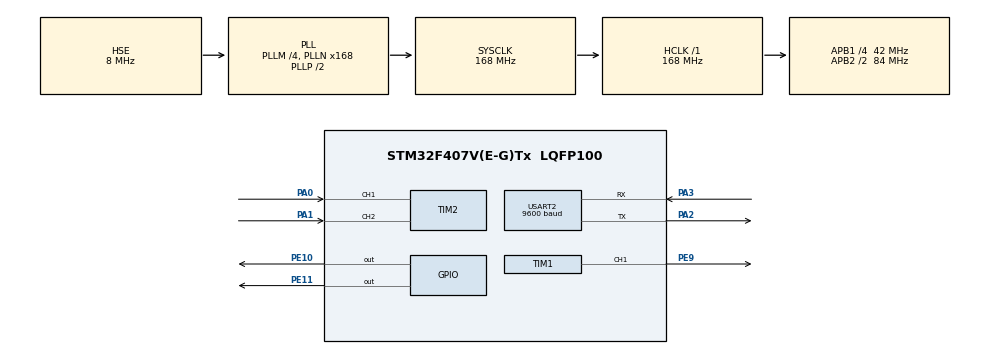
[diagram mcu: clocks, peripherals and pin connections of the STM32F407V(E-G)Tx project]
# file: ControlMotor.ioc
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Dma.Request0=USART2_RX
Dma.Request1=USART2_TX
Dma.USART2_RX.0.Direction=DMA_PERIPH_TO_MEMORY
Dma.USART2_RX.0.FIFOMode=DMA_FIFOMODE_DISABLE
Dma.USART2_RX.0.Instance=DMA1_Stream5
Dma.USART2_RX.0.MemDataAlignment=DMA_MDATAALIGN_BYTE
Dma.USART2_RX.0.MemInc=DMA_MINC_ENABLE
Dma.USART2_RX.0.Mode=DMA_NORMAL
Dma.USART2_RX.0.PeriphDataAlignment=DMA_PDATAALIGN_BYTE
Dma.USART2_RX.0.PeriphInc=DMA_PINC_DISABLE
Dma.USART2_RX.0.Priority=DMA_PRIORITY_HIGH
Dma.USART2_TX.1.Direction=DMA_MEMORY_TO_PERIPH
Dma.USART2_TX.1.FIFOMode=DMA_FIFOMODE_DISABLE
Dma.USART2_TX.1.Instance=DMA1_Stream6
Dma.USART2_TX.1.MemDataAlignment=DMA_MDATAALIGN_BYTE
Dma.USART2_TX.1.MemInc=DMA_MINC_ENABLE
Dma.USART2_TX.1.Mode=DMA_NORMAL
Dma.USART2_TX.1.PeriphDataAlignment=DMA_PDATAALIGN_BYTE
Dma.USART2_TX.1.PeriphInc=DMA_PINC_DISABLE
Dma.USART2_TX.1.Priority=DMA_PRIORITY_HIGH
Mcu.Family=STM32F4
Mcu.Name=STM32F407V(E-G)Tx
Mcu.Package=LQFP100
NVIC.DMA1_Stream5_IRQn=true\:0\:0\:false\:false\:true\:false\:true\:true
NVIC.DMA1_Stream6_IRQn=true\:0\:0\:false\:false\:true\:false\:true\:true
NVIC.PriorityGroup=NVIC_PRIORITYGROUP_0
NVIC.TIM2_IRQn=true\:0\:0\:false\:false\:true\:true\:true\:true
NVIC.TIM3_IRQn=true\:0\:0\:false\:false\:true\:true\:true\:true
NVIC.TIM4_IRQn=true\:0\:0\:false\:false\:true\:true\:true\:true
NVIC.USART2_IRQn=true\:0\:0\:false\:false\:true\:true\:true\:true
PA0-WKUP.Signal=S_TIM2_CH1_ETR
PA1.Signal=S_TIM2_CH2
PA13.Mode=Serial_Wire
PA13.Signal=SYS_JTMS-SWDIO
PA14.Mode=Serial_Wire
PA14.Signal=SYS_JTCK-SWCLK
PA2.Mode=Asynchronous
PA2.Signal=USART2_TX
PA3.Mode=Asynchronous
PA3.Signal=USART2_RX
PE10.Signal=GPIO_Output
PE11.Signal=GPIO_Output
PE9.Signal=S_TIM1_CH1
PH0-OSC_IN.Mode=HSE-External-Oscillator
PH0-OSC_IN.Signal=RCC_OSC_IN
PH1-OSC_OUT.Mode=HSE-External-Oscillator
PH1-OSC_OUT.Signal=RCC_OSC_OUT
ProjectManager.HeapSize=0x200
ProjectManager.StackSize=0x400
ProjectManager.TargetToolchain=STM32CubeIDE
RCC.48MHZClocksFreq_Value=48000000
RCC.AHBFreq_Value=168000000
RCC.APB1CLKDivider=RCC_HCLK_DIV4
RCC.APB1Freq_Value=42000000
RCC.APB1TimFreq_Value=84000000
RCC.APB2CLKDivider=RCC_HCLK_DIV2
RCC.APB2Freq_Value=84000000
RCC.APB2TimFreq_Value=168000000
RCC.CortexFreq_Value=168000000
RCC.HCLKFreq_Value=168000000
RCC.HSE_VALUE=8000000
RCC.HSI_VALUE=16000000
RCC.LSE_VALUE=32768
RCC.PLLM=4
RCC.PLLN=168
RCC.PLLQ=7
RCC.PLLSourceVirtual=RCC_PLLSOURCE_HSE
RCC.SYSCLKFreq_VALUE=168000000
RCC.SYSCLKSource=RCC_SYSCLKSOURCE_PLLCLK
RCC.VCOOutputFreq_Value=336000000
SH.S_TIM1_CH1.0=TIM1_CH1,PWM Generation1 CH1
SH.S_TIM2_CH1_ETR.0=TIM2_CH1,Encoder_Interface
SH.S_TIM2_CH2.0=TIM2_CH2,Encoder_Interface
TIM1.Channel-PWM\ Generation1\ CH1=TIM_CHANNEL_1
TIM1.Period=100-1
TIM1.Prescaler=168-1
TIM2.EncoderMode=TIM_ENCODERMODE_TI12
TIM3.Period=5000-1
TIM3.Prescaler=84-1
TIM4.Period=10000-1
TIM4.Prescaler=840-1
USART2.BaudRate=9600
USART2.VirtualMode=VM_ASYNC
VP_TIM1_VS_ClockSourceINT.Mode=Internal
VP_TIM3_VS_ClockSourceINT.Mode=Internal
VP_TIM4_VS_ClockSourceINT.Mode=Internal
board=STM32F407G-DISC1

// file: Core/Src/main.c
/* USER CODE BEGIN Header */
/**
  ******************************************************************************
  * @file           : main.c
  * @brief          : Main program body
  ******************************************************************************
  * @attention
  *
  * Copyright (c) 2024 STMicroelectronics.
  * All rights reserved.
  *
  * This software is licensed under terms that can be found in the LICENSE file
  * in the root directory of this software component.
  * If no LICENSE file comes with this software, it is provided AS-IS.
  *
  ******************************************************************************
  */
/* USER CODE END Header */
#include "main.h"

/* USER CODE BEGIN Includes */
#include <stdbool.h>
#include <string.h>
#include <math.h>
#include <stdint.h>
/* USER CODE END Includes */

/* USER CODE BEGIN PTD */
// Variables for setpoint value
float setpoint = 0.0; // unit deg
/* USER CODE END PTD */

/* USER CODE BEGIN PD */
#define PULSE_PER_REVOLUTION 260
#define RX_BUFF_SIZE 20
#define TX_BUFF_SIZE 20
#define SET_RUN_MODE 0x01
#define SET_STOP_MODE 0x02
#define RECEIVE_MODE 0x03
/* USER CODE END PD */

TIM_HandleTypeDef htim1;
TIM_HandleTypeDef htim2;
TIM_HandleTypeDef htim3;
TIM_HandleTypeDef htim4;

UART_HandleTypeDef huart2;
DMA_HandleTypeDef hdma_usart2_rx;
DMA_HandleTypeDef hdma_usart2_tx;

/* USER CODE BEGIN PV */
// Variables for reading encoder
volatile short enc_val = 0; // encoder value
volatile short speed_test = 0;
int8_t motor_direction; // 1 = clockwise, 0 = counter clockwise
// Variables for control motor
uint16_t PWMvalue = 0;

volatile float Error = 0.0;
volatile float pre_Error = 0.0;
volatile float pre_pre_Error = 0.0;
volatile float pre_out = 0.0;

// Variables for PID
bool caculate_pid = false;
float K_p = 0.00105390884; 	//k_p = 0.28
float K_i = 0.421563536; //k_i = 0.0001
float K_d = 0; 		//k_d = 0.1

float error_value = 0; //error
float previous_error = 0; //for calculating the derivative (edot)
float P_part, I_part, D_part;
float control_signal = 0; //u - Also called as process variable (PV)
float T = 0.005; // control period in s (5ms)

// Variables for sending data through Usart
uint8_t Rx_buff[RX_BUFF_SIZE];
uint8_t Tx_buff[TX_BUFF_SIZE];
uint8_t main_buff[RX_BUFF_SIZE];
uint8_t sub_main_buff[4];
bool update_paramter = false;
uint16_t size;
uint8_t length;
/* USER CODE END PV */

void SystemClock_Config(void);
static void MX_GPIO_Init(void);
static void MX_DMA_Init(void);
static void MX_USART2_UART_Init(void);
static void MX_TIM2_Init(void);
static void MX_TIM4_Init(void);
static void MX_TIM1_Init(void);
static void MX_TIM3_Init(void);
/* USER CODE BEGIN PFP */
// Convert function
float convertUint8ArrayToFloat(uint8_t array[4]);
void floatToByteArray(float floatValue, uint8_t byteArray[4]);

// function for motor
void calculatePID(void);
void controlMotor(void);
// function for uart
void sendCurrentSpeed(void);
/* USER CODE END PFP */

int main(void)
{

  /* MCU Configuration--------------------------------------------------------*/

  /* Reset of all peripherals, Initializes the Flash interface and the Systick. */
  HAL_Init();

  /* Configure the system clock */
  SystemClock_Config();

  /* Initialize all configured peripherals */
  MX_GPIO_Init();
  MX_DMA_Init();
  MX_USART2_UART_Init();
  MX_TIM2_Init();
  MX_TIM4_Init();
  MX_TIM1_Init();
  MX_TIM3_Init();
  /* USER CODE BEGIN 2 */
  HAL_TIM_PWM_Start(&htim1,TIM_CHANNEL_1); // start timer1 for pwm
  HAL_TIM_Encoder_Start_IT(&htim2,TIM_CHANNEL_1); // start timer2 encoder interface to read encoder mode x4
  HAL_TIM_Encoder_Start_IT(&htim2,TIM_CHANNEL_2);
  HAL_TIM_Base_Start_IT(&htim3); // start timer for 5ms pid control cycle
  HAL_TIM_Base_Start_IT(&htim4); // start timer for 100ms send current position
  HAL_UARTEx_ReceiveToIdle_DMA(&huart2, Rx_buff, RX_BUFF_SIZE); // start uart2 rx dma idle
  //Then we set the motor speed
  __HAL_TIM_SetCompare(&htim1,TIM_CHANNEL_1,0);
  /* USER CODE END 2 */

  /* Infinite loop */
  /* USER CODE BEGIN WHILE */
  while (1)
  {
	switch(main_buff[2])
	{
	case SET_STOP_MODE:
		PWMvalue = 0;
		//Then we set the motor speed
		__HAL_TIM_SetCompare(&htim1,TIM_CHANNEL_1,PWMvalue);
		break;
	case SET_RUN_MODE:
		if (caculate_pid)
			{
				caculate_pid = false;
				calculatePID();
//				controlMotor();

			}
		if(update_paramter)
		{
			update_paramter = false;

			for (uint8_t i = 0; i < 4; i++)
			{
				sub_main_buff[i] = main_buff[i+3];
			}
			setpoint = convertUint8ArrayToFloat(sub_main_buff);
			for (uint8_t i = 0; i < 4; i++)
			{
				sub_main_buff[i] = main_buff[i+7];
			}
			K_p = convertUint8ArrayToFloat(sub_main_buff);
			for (uint8_t i = 0; i < 4; i++)
			{
				sub_main_buff[i] = main_buff[i+11];
			}
			K_i = convertUint8ArrayToFloat(sub_main_buff);
			for (uint8_t i = 0; i < 4; i++)
			{
				sub_main_buff[i] = main_buff[i+15];
			}
			K_d = convertUint8ArrayToFloat(sub_main_buff);
		}
		break;
	}

    /* USER CODE END WHILE */

  }
}

void SystemClock_Config(void)
{
  RCC_OscInitTypeDef RCC_OscInitStruct = {0};
  RCC_ClkInitTypeDef RCC_ClkInitStruct = {0};

  /** Configure the main internal regulator output voltage
  */
  __HAL_RCC_PWR_CLK_ENABLE();
  __HAL_PWR_VOLTAGESCALING_CONFIG(PWR_REGULATOR_VOLTAGE_SCALE1);

  /** Initializes the RCC Oscillators according to the specified parameters
  * in the RCC_OscInitTypeDef structure.
  */
  RCC_OscInitStruct.OscillatorType = RCC_OSCILLATORTYPE_HSE;
  RCC_OscInitStruct.HSEState = RCC_HSE_ON;
  RCC_OscInitStruct.PLL.PLLState = RCC_PLL_ON;
  RCC_OscInitStruct.PLL.PLLSource = RCC_PLLSOURCE_HSE;
  RCC_OscInitStruct.PLL.PLLM = 4;
  RCC_OscInitStruct.PLL.PLLN = 168;
  RCC_OscInitStruct.PLL.PLLP = RCC_PLLP_DIV2;
  RCC_OscInitStruct.PLL.PLLQ = 7;
  if (HAL_RCC_OscConfig(&RCC_OscInitStruct) != HAL_OK)
  {
    Error_Handler();
  }

  /** Initializes the CPU, AHB and APB buses clocks
  */
  RCC_ClkInitStruct.ClockType = RCC_CLOCKTYPE_HCLK|RCC_CLOCKTYPE_SYSCLK
                              |RCC_CLOCKTYPE_PCLK1|RCC_CLOCKTYPE_PCLK2;
  RCC_ClkInitStruct.SYSCLKSource = RCC_SYSCLKSOURCE_PLLCLK;
  RCC_ClkInitStruct.AHBCLKDivider = RCC_SYSCLK_DIV1;
  RCC_ClkInitStruct.APB1CLKDivider = RCC_HCLK_DIV4;
  RCC_ClkInitStruct.APB2CLKDivider = RCC_HCLK_DIV2;

  if (HAL_RCC_ClockConfig(&RCC_ClkInitStruct, FLASH_LATENCY_5) != HAL_OK)
  {
    Error_Handler();
  }
}

static void MX_TIM1_Init(void)
{

  TIM_ClockConfigTypeDef sClockSourceConfig = {0};
  TIM_MasterConfigTypeDef sMasterConfig = {0};
  TIM_OC_InitTypeDef sConfigOC = {0};
  TIM_BreakDeadTimeConfigTypeDef sBreakDeadTimeConfig = {0};

  htim1.Instance = TIM1;
  htim1.Init.Prescaler = 168-1;
  htim1.Init.CounterMode = TIM_COUNTERMODE_UP;
  htim1.Init.Period = 100-1;
  htim1.Init.ClockDivision = TIM_CLOCKDIVISION_DIV1;
  htim1.Init.RepetitionCounter = 0;
  htim1.Init.AutoReloadPreload = TIM_AUTORELOAD_PRELOAD_DISABLE;
  if (HAL_TIM_Base_Init(&htim1) != HAL_OK)
  {
    Error_Handler();
  }
  sClockSourceConfig.ClockSource = TIM_CLOCKSOURCE_INTERNAL;
  if (HAL_TIM_ConfigClockSource(&htim1, &sClockSourceConfig) != HAL_OK)
  {
    Error_Handler();
  }
  if (HAL_TIM_PWM_Init(&htim1) != HAL_OK)
  {
    Error_Handler();
  }
  sMasterConfig.MasterOutputTrigger = TIM_TRGO_RESET;
  sMasterConfig.MasterSlaveMode = TIM_MASTERSLAVEMODE_DISABLE;
  if (HAL_TIMEx_MasterConfigSynchronization(&htim1, &sMasterConfig) != HAL_OK)
  {
    Error_Handler();
  }
  sConfigOC.OCMode = TIM_OCMODE_PWM1;
  sConfigOC.Pulse = 0;
  sConfigOC.OCPolarity = TIM_OCPOLARITY_HIGH;
  sConfigOC.OCNPolarity = TIM_OCNPOLARITY_HIGH;
  sConfigOC.OCFastMode = TIM_OCFAST_DISABLE;
  sConfigOC.OCIdleState = TIM_OCIDLESTATE_RESET;
  sConfigOC.OCNIdleState = TIM_OCNIDLESTATE_RESET;
  if (HAL_TIM_PWM_ConfigChannel(&htim1, &sConfigOC, TIM_CHANNEL_1) != HAL_OK)
  {
    Error_Handler();
  }
  sBreakDeadTimeConfig.OffStateRunMode = TIM_OSSR_DISABLE;
  sBreakDeadTimeConfig.OffStateIDLEMode = TIM_OSSI_DISABLE;
  sBreakDeadTimeConfig.LockLevel = TIM_LOCKLEVEL_OFF;
  sBreakDeadTimeConfig.DeadTime = 0;
  sBreakDeadTimeConfig.BreakState = TIM_BREAK_DISABLE;
  sBreakDeadTimeConfig.BreakPolarity = TIM_BREAKPOLARITY_HIGH;
  sBreakDeadTimeConfig.AutomaticOutput = TIM_AUTOMATICOUTPUT_DISABLE;
  if (HAL_TIMEx_ConfigBreakDeadTime(&htim1, &sBreakDeadTimeConfig) != HAL_OK)
  {
    Error_Handler();
  }
  HAL_TIM_MspPostInit(&htim1);

}

static void MX_TIM2_Init(void)
{

  TIM_Encoder_InitTypeDef sConfig = {0};
  TIM_MasterConfigTypeDef sMasterConfig = {0};

  htim2.Instance = TIM2;
  htim2.Init.Prescaler = 0;
  htim2.Init.CounterMode = TIM_COUNTERMODE_UP;
  htim2.Init.Period = 4294967295;
  htim2.Init.ClockDivision = TIM_CLOCKDIVISION_DIV1;
  htim2.Init.AutoReloadPreload = TIM_AUTORELOAD_PRELOAD_DISABLE;
  sConfig.EncoderMode = TIM_ENCODERMODE_TI12;
  sConfig.IC1Polarity = TIM_ICPOLARITY_RISING;
  sConfig.IC1Selection = TIM_ICSELECTION_DIRECTTI;
  sConfig.IC1Prescaler = TIM_ICPSC_DIV1;
  sConfig.IC1Filter = 0;
  sConfig.IC2Polarity = TIM_ICPOLARITY_RISING;
  sConfig.IC2Selection = TIM_ICSELECTION_DIRECTTI;
  sConfig.IC2Prescaler = TIM_ICPSC_DIV1;
  sConfig.IC2Filter = 0;
  if (HAL_TIM_Encoder_Init(&htim2, &sConfig) != HAL_OK)
  {
    Error_Handler();
  }
  sMasterConfig.MasterOutputTrigger = TIM_TRGO_RESET;
  sMasterConfig.MasterSlaveMode = TIM_MASTERSLAVEMODE_DISABLE;
  if (HAL_TIMEx_MasterConfigSynchronization(&htim2, &sMasterConfig) != HAL_OK)
  {
    Error_Handler();
  }

}

static void MX_TIM3_Init(void)
{

  TIM_ClockConfigTypeDef sClockSourceConfig = {0};
  TIM_MasterConfigTypeDef sMasterConfig = {0};

  htim3.Instance = TIM3;
  htim3.Init.Prescaler = 84-1;
  htim3.Init.CounterMode = TIM_COUNTERMODE_UP;
  htim3.Init.Period = 5000-1;
  htim3.Init.ClockDivision = TIM_CLOCKDIVISION_DIV1;
  htim3.Init.AutoReloadPreload = TIM_AUTORELOAD_PRELOAD_DISABLE;
  if (HAL_TIM_Base_Init(&htim3) != HAL_OK)
  {
    Error_Handler();
  }
  sClockSourceConfig.ClockSource = TIM_CLOCKSOURCE_INTERNAL;
  if (HAL_TIM_ConfigClockSource(&htim3, &sClockSourceConfig) != HAL_OK)
  {
    Error_Handler();
  }
  sMasterConfig.MasterOutputTrigger = TIM_TRGO_RESET;
  sMasterConfig.MasterSlaveMode = TIM_MASTERSLAVEMODE_DISABLE;
  if (HAL_TIMEx_MasterConfigSynchronization(&htim3, &sMasterConfig) != HAL_OK)
  {
    Error_Handler();
  }

}

static void MX_TIM4_Init(void)
{

  TIM_ClockConfigTypeDef sClockSourceConfig = {0};
  TIM_MasterConfigTypeDef sMasterConfig = {0};

  htim4.Instance = TIM4;
  htim4.Init.Prescaler = 840-1;
  htim4.Init.CounterMode = TIM_COUNTERMODE_UP;
  htim4.Init.Period = 10000-1;
  htim4.Init.ClockDivision = TIM_CLOCKDIVISION_DIV1;
  htim4.Init.AutoReloadPreload = TIM_AUTORELOAD_PRELOAD_DISABLE;
  if (HAL_TIM_Base_Init(&htim4) != HAL_OK)
  {
    Error_Handler();
  }
  sClockSourceConfig.ClockSource = TIM_CLOCKSOURCE_INTERNAL;
  if (HAL_TIM_ConfigClockSource(&htim4, &sClockSourceConfig) != HAL_OK)
  {
    Error_Handler();
  }
  sMasterConfig.MasterOutputTrigger = TIM_TRGO_RESET;
  sMasterConfig.MasterSlaveMode = TIM_MASTERSLAVEMODE_DISABLE;
  if (HAL_TIMEx_MasterConfigSynchronization(&htim4, &sMasterConfig) != HAL_OK)
  {
    Error_Handler();
  }

}

static void MX_USART2_UART_Init(void)
{

  huart2.Instance = USART2;
  huart2.Init.BaudRate = 9600;
  huart2.Init.WordLength = UART_WORDLENGTH_8B;
  huart2.Init.StopBits = UART_STOPBITS_1;
  huart2.Init.Parity = UART_PARITY_NONE;
  huart2.Init.Mode = UART_MODE_TX_RX;
  huart2.Init.HwFlowCtl = UART_HWCONTROL_NONE;
  huart2.Init.OverSampling = UART_OVERSAMPLING_16;
  if (HAL_UART_Init(&huart2) != HAL_OK)
  {
    Error_Handler();
  }

}

static void MX_DMA_Init(void)
{

  /* DMA controller clock enable */
  __HAL_RCC_DMA1_CLK_ENABLE();

  /* DMA interrupt init */
  /* DMA1_Stream5_IRQn interrupt configuration */
  HAL_NVIC_SetPriority(DMA1_Stream5_IRQn, 0, 0);
  HAL_NVIC_EnableIRQ(DMA1_Stream5_IRQn);
  /* DMA1_Stream6_IRQn interrupt configuration */
  HAL_NVIC_SetPriority(DMA1_Stream6_IRQn, 0, 0);
  HAL_NVIC_EnableIRQ(DMA1_Stream6_IRQn);

}

static void MX_GPIO_Init(void)
{
  GPIO_InitTypeDef GPIO_InitStruct = {0};

  /* GPIO Ports Clock Enable */
  __HAL_RCC_GPIOH_CLK_ENABLE();
  __HAL_RCC_GPIOA_CLK_ENABLE();
  __HAL_RCC_GPIOE_CLK_ENABLE();

  /*Configure GPIO pin Output Level */
  HAL_GPIO_WritePin(GPIOE, GPIO_PIN_10|GPIO_PIN_11, GPIO_PIN_RESET);

  /*Configure GPIO pins : PE10 PE11 */
  GPIO_InitStruct.Pin = GPIO_PIN_10|GPIO_PIN_11;
  GPIO_InitStruct.Mode = GPIO_MODE_OUTPUT_PP;
  GPIO_InitStruct.Pull = GPIO_NOPULL;
  GPIO_InitStruct.Speed = GPIO_SPEED_FREQ_LOW;
  HAL_GPIO_Init(GPIOE, &GPIO_InitStruct);

}

/* USER CODE BEGIN 4 */
// handles data of Rx_buff when complete receive MAX_LEN byte from pc
void HAL_UARTEx_RxEventCallback(UART_HandleTypeDef *huart, uint16_t Size)
{
	if(huart->Instance == huart2.Instance){
		memcpy(main_buff, Rx_buff, Size); // get data
		if(main_buff[0] == 0x0A && main_buff[1] == (uint8_t)(Size-4) && main_buff[Size-1] == 0x05){
			memcpy(Tx_buff, main_buff, Size);
			Tx_buff[Size-1] = 0x06; // change SYNC to ACK
			HAL_UART_Transmit_DMA(&huart2, Tx_buff, Size); // send back to pc
			update_paramter = true; // turn on flag
		}
		size = Size;
		HAL_UARTEx_ReceiveToIdle_DMA(&huart2, Rx_buff, RX_BUFF_SIZE); // start uart rx DMA again
	}
}

// timer 2 interup input capture to read encoder
//void HAL_TIM_IC_CaptureCallback(TIM_HandleTypeDef *htim)
//{
//	/* read encoder mode x4 */
//	enc_val = __HAL_TIM_GET_COUNTER(htim) ;
//	/*transfer to RPM*/
//	speed_test = enc_val * 30; //(enc_val /2 * 60)
//	enc_val = 0;
//}

// timer 4 call back every 100ms to send current position
void HAL_TIM_PeriodElapsedCallback(TIM_HandleTypeDef *htim)
{
	if(htim->Instance == TIM3)
	{
		caculate_pid = true; // turn on flag
		/* read encoder mode x4 */
//		enc_val = __HAL_TIM_GET_COUNTER(&htim2) ;
//		/*transfer to RPM*/
//		speed_test = enc_val * 30; //(enc_val /2 * 60)
//		enc_val = 0;
		enc_val = (int16_t)TIM2->CNT*30;
		TIM2->CNT = 0;
		TIM3->CNT = 0;
	}
	if(htim->Instance == TIM4)
	{
		sendCurrentSpeed();
	}
}
void controlMotor(void)
{
	if (control_signal < 0)
	{
		motor_direction = -1;
	}
	else if (control_signal > 0)
	{
		motor_direction = 1;
	}
	else
	{
		motor_direction = 0;
	}

	PWMvalue = (uint16_t)fabs(control_signal);

	if (PWMvalue > 100)
	{
		PWMvalue = 97;
	}
	if (PWMvalue < 0)
	{
		PWMvalue = 0;
	}
//	if (motor_direction == -1)
//	{
//		HAL_GPIO_WritePin(GPIOE,GPIO_PIN_10,GPIO_PIN_RESET);
//		HAL_GPIO_WritePin(GPIOE,GPIO_PIN_11,GPIO_PIN_SET);
//	}
//	else if (motor_direction == 1)
//	{
//		HAL_GPIO_WritePin(GPIOE,GPIO_PIN_10,GPIO_PIN_SET);
//		HAL_GPIO_WritePin(GPIOE,GPIO_PIN_11,GPIO_PIN_RESET);
//	}
//	else
//	{
//		HAL_GPIO_WritePin(GPIOE,GPIO_PIN_10,GPIO_PIN_RESET);
//		HAL_GPIO_WritePin(GPIOE,GPIO_PIN_11,GPIO_PIN_RESET);
//		PWMvalue  = 0;
//	}
//Then we set the motor speed
__HAL_TIM_SetCompare(&htim1,TIM_CHANNEL_1,PWMvalue);
}
void calculatePID(void)
{
//	error_value =   setpoint - enc_val ;
//	P_part = (K_p*error_value);
//	I_part = I_part + K_i*error_value*T;
//	D_part = K_d*(error_value - previous_error)/T;
//	control_signal = P_part + D_part + I_part;
//	previous_error = error_value;
	pre_pre_Error = pre_Error;
	pre_Error = Error;
	Error = setpoint - enc_val;
	P_part = K_p*(Error - pre_Error);
	I_part = 0.5*K_i*T*(Error + pre_Error);
	D_part = K_d/T*( Error - 2*pre_Error+ pre_pre_Error);
	control_signal = pre_out + P_part + I_part + D_part ;
	pre_out = control_signal;
	PWMvalue = (uint16_t)fabs(control_signal);

		if (PWMvalue > 100)
		{
			PWMvalue = 97;
		}
		if (PWMvalue < 0)
		{
			PWMvalue = 0;
		}
	//	if (motor_direction == -1)
	//	{
	//		HAL_GPIO_WritePin(GPIOE,GPIO_PIN_10,GPIO_PIN_RESET);
	//		HAL_GPIO_WritePin(GPIOE,GPIO_PIN_11,GPIO_PIN_SET);
	//	}
	//	else if (motor_direction == 1)
	//	{
	//		HAL_GPIO_WritePin(GPIOE,GPIO_PIN_10,GPIO_PIN_SET);
	//		HAL_GPIO_WritePin(GPIOE,GPIO_PIN_11,GPIO_PIN_RESET);
	//	}
	//	else
	//	{
	//		HAL_GPIO_WritePin(GPIOE,GPIO_PIN_10,GPIO_PIN_RESET);
	//		HAL_GPIO_WritePin(GPIOE,GPIO_PIN_11,GPIO_PIN_RESET);
	//		PWMvalue  = 0;
	//	}
	//Then we set the motor speed
	__HAL_TIM_SetCompare(&htim1,TIM_CHANNEL_1,PWMvalue);
}

float convertUint8ArrayToFloat(uint8_t array[4])
{
    uint32_t uintValue = *(uint32_t*)array;
    float floatValue = *(float*)&uintValue;
    return floatValue;
}

void floatToByteArray(float floatValue, uint8_t byteArray[4])
{
    uint8_t *bytePtr = (uint8_t*)&floatValue;
    for (int i = 0; i < 4; i++) {
        byteArray[i] = bytePtr[i];
    }
}

void sendCurrentSpeed(void)
{
	Tx_buff[0] = 0x0A;
	Tx_buff[1] = 0x04;
	Tx_buff[2] = RECEIVE_MODE;
	floatToByteArray(enc_val,sub_main_buff);
	for(uint8_t i = 0; i < 4; i++)
	{
		Tx_buff[i+3] = sub_main_buff[i];
	}
	Tx_buff[7] = 0x06;
	HAL_UART_Transmit_DMA(&huart2,Tx_buff,8);
}

/* USER CODE END 4 */

void Error_Handler(void)
{
  __disable_irq();
  while (1)
  {
  }
}
